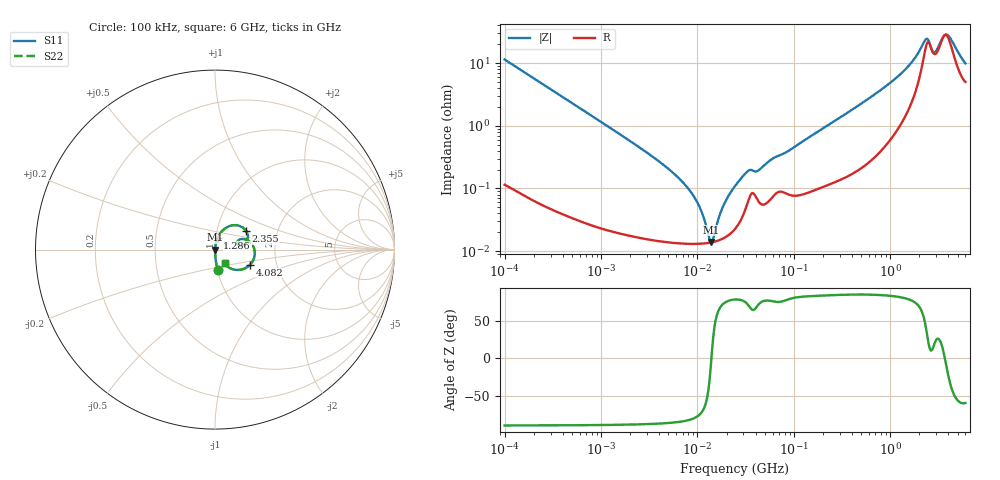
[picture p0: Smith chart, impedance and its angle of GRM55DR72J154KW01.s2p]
!Murata Part Number: GRM55DR72J154KW01
!These Parameters are Measured in Series Mode Connection
!Data Generated on Mar 30, 2021
!  o--ll--o
!Port1  Port2
!  o------o
!Operation Temp=25[degC], DC Bias Voltage=0[V]
!Freq. Start=100[kHz] Stop=6[GHz] 401[Steps]
# Hz S RI R 50
!Freq.(Hz) S11(Real) S11(Imag) S21(Real) S21(Imag) S12(Real) S12(Imag) S22(Real) S22(Imag)
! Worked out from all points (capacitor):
!   401 points, 100 kHz to 6 GHz, reference 50 ohm
!   read as one part in series: C = 139 nF near 105.7 kHz
!   lowest |Z| = 13.9 mohm at 13.75 MHz (marker M1)
!   series resonance near 13.95 MHz, so ESL is about 940 pH
!   S11 on the Smith chart (normalised r, x): 100 kHz: 1.00, -0.23; 1.286 GHz: 1.02, +0.13; 2.355 GHz: 1.38, +0.30; 4.082 GHz: 1.46, -0.26; 6 GHz: 1.10, -0.17
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100000  0.014 -0.1127  0.986 0.1127  0.986 0.1127  0.014 -0.1127
631452  0.000627 -0.0183  0.9994 0.0183  0.9994 0.0183  0.000627 -0.0183
3987316  0.000151 -0.0027  0.9998 0.0027  0.9998 0.0027  0.000151 -0.0027
6364321  0.000135 -0.00147  0.9999 0.00147  0.9999 0.00147  0.000135 -0.00147
8853126  0.000131 -0.0008  0.9999 0.0008  0.9999 0.0008  0.000131 -0.0008
1.073283e7  0.000131 -0.000453  0.9999 0.000453  0.9999 0.000453  0.000131 -0.000453
1.374747e7  0.000137 -2.5e-05  0.9999 2.5e-05  0.9999 2.5e-05  0.000137 -2.5e-05
1.452491e7  0.00014 6.99e-05  0.9999 -6.99e-05  0.9999 -6.99e-05  0.00014 6.99e-05
1.860466e7  0.000161 0.000511  0.9998 -0.000511  0.9998 -0.000511  0.000161 0.000511
2.517799e7  0.000239 0.00113  0.9998 -0.00113  0.9998 -0.00113  0.000239 0.00113
3.314933e7  0.000599 0.00178  0.9994 -0.00178  0.9994 -0.00178  0.000599 0.00178
4.246031e7  0.000638 0.00181  0.9994 -0.00181  0.9994 -0.00181  0.000638 0.00181
5.906466e7  0.000718 0.00284  0.9993 -0.00284  0.9993 -0.00284  0.000718 0.00284
1.546735e8  0.000953 0.007  0.999 -0.007  0.999 -0.007  0.000953 0.007
9.76689e8  0.00785 0.0464  0.9922 -0.0464  0.9922 -0.0464  0.00785 0.0464
1.285909e9  0.0148 0.0653  0.9852 -0.0653  0.9852 -0.0653  0.0148 0.0653
1.889928e9  0.0547 0.1168  0.9453 -0.1168  0.9453 -0.1168  0.0547 0.1168
2.355095e9  0.1737 0.1049  0.8263 -0.1049  0.8263 -0.1049  0.1737 0.1049
2.855131e9  0.1239 0.0361  0.8761 -0.0361  0.8761 -0.0361  0.1239 0.0361
3.557862e9  0.2104 0.0242  0.7896 -0.0242  0.7896 -0.0242  0.2104 0.0242
4.082404e9  0.1967 -0.0834  0.8033 0.0834  0.8033 0.0834  0.1967 -0.0834
6e9  0.054 -0.0769  0.946 0.0769  0.946 0.0769  0.054 -0.0769
